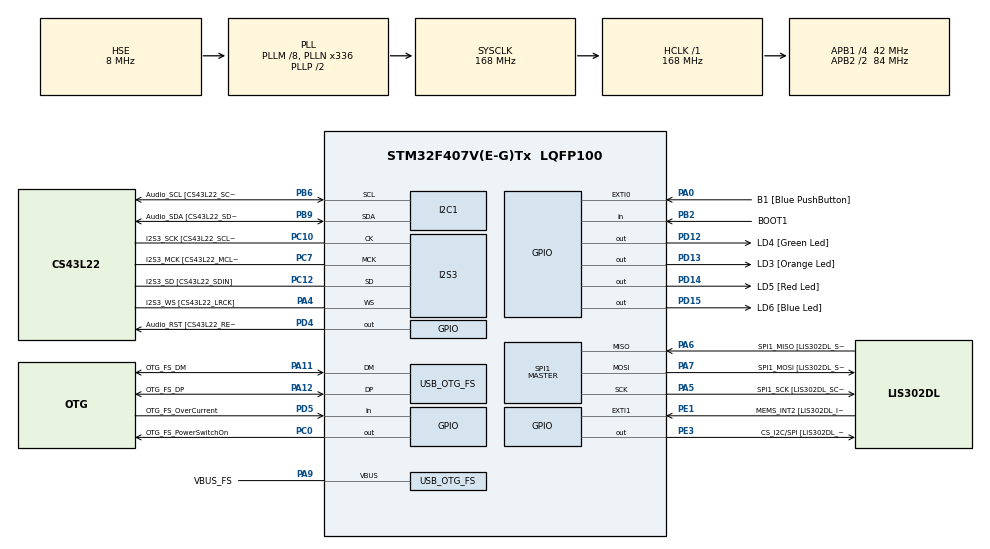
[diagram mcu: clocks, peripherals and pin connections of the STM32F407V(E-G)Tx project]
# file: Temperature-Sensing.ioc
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ADC1.Channel-0\#ChannelRegularConversion=ADC_CHANNEL_TEMPSENSOR
ADC1.NbrOfConversionFlag=1
ADC1.Rank-0\#ChannelRegularConversion=1
ADC1.SamplingTime-0\#ChannelRegularConversion=ADC_SAMPLETIME_3CYCLES
ADC1.master=1
I2S3.AudioFreq-Half_Duplex_Master=I2S_AUDIOFREQ_96K
I2S3.ErrorAudioFreq=-2.34 %
I2S3.ErrorAudioFreq-Half_Duplex_Master=0.8 %
I2S3.FullDuplexMode=I2S_FULLDUPLEXMODE_DISABLE
I2S3.Instance=SPI$Index
I2S3.RealAudioFreq=93.75 KHz
I2S3.RealAudioFreq-Half_Duplex_Master=96.774 KHz
I2S3.VirtualMode=I2S_MODE_MASTER
Mcu.Family=STM32F4
Mcu.Name=STM32F407V(E-G)Tx
Mcu.Package=LQFP100
NVIC.OTG_FS_IRQn=true\:0\:0\:false\:false\:true\:true
NVIC.PriorityGroup=NVIC_PRIORITYGROUP_0
PA0-WKUP.GPIO_Label=B1 [Blue PushButton]
PA0-WKUP.GPIO_ModeDefaultEXTI=GPIO_MODE_EVT_RISING
PA0-WKUP.GPIO_PuPd=GPIO_NOPULL
PA0-WKUP.Signal=GPXTI0
PA10.GPIO_Label=OTG_FS_ID
PA10.GPIO_Mode=GPIO_MODE_AF_PP
PA10.GPIO_PuPd=GPIO_NOPULL
PA10.GPIO_Speed=GPIO_SPEED_FREQ_LOW
PA10.Signal=USB_OTG_FS_ID
PA11.GPIO_Label=OTG_FS_DM
PA11.GPIO_Mode=GPIO_MODE_AF_PP
PA11.GPIO_PuPd=GPIO_NOPULL
PA11.GPIO_Speed=GPIO_SPEED_FREQ_LOW
PA11.Mode=Host_Only
PA11.Signal=USB_OTG_FS_DM
PA12.GPIO_Label=OTG_FS_DP
PA12.GPIO_Mode=GPIO_MODE_AF_PP
PA12.GPIO_PuPd=GPIO_NOPULL
PA12.GPIO_Speed=GPIO_SPEED_FREQ_LOW
PA12.Mode=Host_Only
PA12.Signal=USB_OTG_FS_DP
PA13.GPIO_Label=SWDIO
PA13.Mode=Serial_Wire
PA13.Signal=SYS_JTMS-SWDIO
PA14.GPIO_Label=SWCLK
PA14.Mode=Serial_Wire
PA14.Signal=SYS_JTCK-SWCLK
PA4.GPIO_Label=I2S3_WS [CS43L22_LRCK]
PA4.GPIO_Mode=GPIO_MODE_AF_PP
PA4.GPIO_PuPd=GPIO_NOPULL
PA4.GPIO_Speed=GPIO_SPEED_FREQ_LOW
PA4.Mode=Half_Duplex_Master
PA4.Signal=I2S3_WS
PA5.GPIO_Label=SPI1_SCK [LIS302DL_SCL/SPC]
PA5.GPIO_Mode=GPIO_MODE_AF_PP
PA5.GPIO_PuPd=GPIO_NOPULL
PA5.GPIO_Speed=GPIO_SPEED_FREQ_LOW
PA5.Mode=Full_Duplex_Master
PA5.Signal=SPI1_SCK
PA6.GPIO_Label=SPI1_MISO [LIS302DL_SDO]
PA6.GPIO_Mode=GPIO_MODE_AF_PP
PA6.GPIO_PuPd=GPIO_NOPULL
PA6.GPIO_Speed=GPIO_SPEED_FREQ_LOW
PA6.Mode=Full_Duplex_Master
PA6.Signal=SPI1_MISO
PA7.GPIO_Label=SPI1_MOSI [LIS302DL_SDA/SDI/SDO]
PA7.GPIO_Mode=GPIO_MODE_AF_PP
PA7.GPIO_PuPd=GPIO_NOPULL
PA7.GPIO_Speed=GPIO_SPEED_FREQ_LOW
PA7.Mode=Full_Duplex_Master
PA7.Signal=SPI1_MOSI
PA9.GPIO_Label=VBUS_FS
PA9.GPIO_Mode=GPIO_MODE_INPUT
PA9.GPIO_PuPd=GPIO_NOPULL
PA9.Mode=Activate_VBUS
PA9.Signal=USB_OTG_FS_VBUS
PB10.GPIO_Label=CLK_IN [MP45DT02_CLK]
PB10.GPIO_Mode=GPIO_MODE_AF_PP
PB10.GPIO_PuPd=GPIO_NOPULL
PB10.GPIO_Speed=GPIO_SPEED_FREQ_LOW
PB10.Signal=I2S2_CK
PB2.GPIO_Label=BOOT1
PB2.GPIO_Mode=GPIO_MODE_INPUT
PB2.GPIO_PuPd=GPIO_NOPULL
PB2.Signal=GPIO_Input
PB3.GPIO_Label=SWO
PB3.Signal=SYS_JTDO-SWO
PB6.GPIO_Label=Audio_SCL [CS43L22_SCL]
PB6.GPIO_Mode=GPIO_MODE_AF_OD
PB6.GPIO_PuPd=GPIO_NOPULL
PB6.GPIO_Speed=GPIO_SPEED_FREQ_LOW
PB6.Mode=I2C
PB6.Signal=I2C1_SCL
PB9.GPIO_Label=Audio_SDA [CS43L22_SDA]
PB9.GPIO_Mode=GPIO_MODE_AF_OD
PB9.GPIO_PuPd=GPIO_NOPULL
PB9.GPIO_Speed=GPIO_SPEED_FREQ_LOW
PB9.Mode=I2C
PB9.Signal=I2C1_SDA
PC0.GPIO_Label=OTG_FS_PowerSwitchOn
PC0.GPIO_PuPd=GPIO_NOPULL
PC0.GPIO_Speed=GPIO_SPEED_FREQ_LOW
PC0.PinState=GPIO_PIN_SET
PC0.Signal=GPIO_Output
PC10.GPIO_Label=I2S3_SCK [CS43L22_SCLK]
PC10.GPIO_Mode=GPIO_MODE_AF_PP
PC10.GPIO_PuPd=GPIO_NOPULL
PC10.GPIO_Speed=GPIO_SPEED_FREQ_LOW
PC10.Mode=Half_Duplex_Master
PC10.Signal=I2S3_CK
PC12.GPIO_Label=I2S3_SD [CS43L22_SDIN]
PC12.GPIO_Mode=GPIO_MODE_AF_PP
PC12.GPIO_PuPd=GPIO_NOPULL
PC12.GPIO_Speed=GPIO_SPEED_FREQ_LOW
PC12.Mode=Half_Duplex_Master
PC12.Signal=I2S3_SD
PC14-OSC32_IN.GPIO_Label=PC14-OSC32_IN
PC14-OSC32_IN.Mode=LSE-External-Oscillator
PC14-OSC32_IN.Signal=RCC_OSC32_IN
PC15-OSC32_OUT.GPIO_Label=PC15-OSC32_OUT
PC15-OSC32_OUT.Mode=LSE-External-Oscillator
PC15-OSC32_OUT.Signal=RCC_OSC32_OUT
PC3.GPIO_Label=PDM_OUT [MP45DT02_DOUT]
PC3.GPIO_Mode=GPIO_MODE_AF_PP
PC3.GPIO_PuPd=GPIO_NOPULL
PC3.GPIO_Speed=GPIO_SPEED_FREQ_LOW
PC3.Signal=I2S2_SD
PC7.GPIO_Label=I2S3_MCK [CS43L22_MCLK]
PC7.GPIO_Mode=GPIO_MODE_AF_PP
PC7.GPIO_PuPd=GPIO_NOPULL
PC7.GPIO_Speed=GPIO_SPEED_FREQ_LOW
PC7.Mode=Master_Clock_Activated
PC7.Signal=I2S3_MCK
PD12.GPIO_Label=LD4 [Green Led]
PD12.GPIO_PuPd=GPIO_NOPULL
PD12.GPIO_Speed=GPIO_SPEED_FREQ_LOW
PD12.Signal=GPIO_Output
PD13.GPIO_Label=LD3 [Orange Led]
PD13.GPIO_PuPd=GPIO_NOPULL
PD13.GPIO_Speed=GPIO_SPEED_FREQ_LOW
PD13.Signal=GPIO_Output
PD14.GPIO_Label=LD5 [Red Led]
PD14.GPIO_PuPd=GPIO_NOPULL
PD14.GPIO_Speed=GPIO_SPEED_FREQ_LOW
PD14.Signal=GPIO_Output
PD15.GPIO_Label=LD6 [Blue Led]
PD15.GPIO_PuPd=GPIO_NOPULL
PD15.GPIO_Speed=GPIO_SPEED_FREQ_LOW
PD15.Signal=GPIO_Output
PD4.GPIO_Label=Audio_RST [CS43L22_RESET]
PD4.GPIO_PuPd=GPIO_NOPULL
PD4.GPIO_Speed=GPIO_SPEED_FREQ_LOW
PD4.Signal=GPIO_Output
PD5.GPIO_Label=OTG_FS_OverCurrent
PD5.GPIO_Mode=GPIO_MODE_INPUT
PD5.GPIO_PuPd=GPIO_NOPULL
PD5.Signal=GPIO_Input
PE1.GPIO_Label=MEMS_INT2 [LIS302DL_INT2]
PE1.GPIO_ModeDefaultEXTI=GPIO_MODE_EVT_RISING
PE1.GPIO_PuPd=GPIO_NOPULL
PE1.Signal=GPXTI1
PE3.GPIO_Label=CS_I2C/SPI [LIS302DL_CS_I2C/SPI]
PE3.GPIO_PuPd=GPIO_NOPULL
PE3.GPIO_Speed=GPIO_SPEED_FREQ_LOW
PE3.Signal=GPIO_Output
PH0-OSC_IN.GPIO_Label=PH0-OSC_IN
PH0-OSC_IN.Mode=HSE-External-Oscillator
PH0-OSC_IN.Signal=RCC_OSC_IN
PH1-OSC_OUT.GPIO_Label=PH1-OSC_OUT
PH1-OSC_OUT.Mode=HSE-External-Oscillator
PH1-OSC_OUT.Signal=RCC_OSC_OUT
ProjectManager.HeapSize=0x200
ProjectManager.StackSize=0x400
ProjectManager.TargetToolchain=EWARM V8
RCC.48MHZClocksFreq_Value=48000000
RCC.AHBFreq_Value=168000000
RCC.APB1CLKDivider=RCC_HCLK_DIV4
RCC.APB1Freq_Value=42000000
RCC.APB1TimFreq_Value=84000000
RCC.APB2CLKDivider=RCC_HCLK_DIV2
RCC.APB2Freq_Value=84000000
RCC.APB2TimFreq_Value=168000000
RCC.CortexFreq_Value=168000000
RCC.HCLKFreq_Value=168000000
RCC.HSE_VALUE=8000000
RCC.HSI_VALUE=16000000
RCC.PLLM=8
RCC.PLLN=336
RCC.PLLQ=7
RCC.SYSCLKFreq_VALUE=168000000
RCC.SYSCLKSource=RCC_SYSCLKSOURCE_PLLCLK
RCC.VCOOutputFreq_Value=336000000
SPI1.BaudRatePrescaler-Full_Duplex_Master=SPI_BAUDRATEPRESCALER_2
SPI1.CalculateBaudRate-Full_Duplex_Master=42.0 MBits/s
SPI1.Direction=SPI_DIRECTION_2LINES
SPI1.Mode=SPI_MODE_MASTER
SPI1.Mode-Full_Duplex_Master=SPI_MODE_MASTER
SPI1.VirtualType=VM_MASTER
USB_HOST.BSP.number=1
USB_HOST.USBH_HandleTypeDef-CDC_FS=hUsbHostFS
USB_HOST.VirtualModeFS=Cdc
USB_HOST0.BSP.STBoard=false
USB_HOST0.BSP.api=Unknown
USB_HOST0.BSP.i2caddr=0
USB_HOST0.BSP.i2creg=0
USB_HOST0.BSP.instance=PC0
USB_HOST0.BSP.ip=GPIO
USB_HOST0.BSP.mode=Output
USB_HOST0.BSP.name=Drive_VBUS_FS
USB_HOST0.BSP.solution=PC0
USB_OTG_FS.VirtualMode=Host_Only
USB_OTG_FS.phy_itface=HCD_PHY_EMBEDDED
VP_ADC1_TempSens_Input.Mode=IN-TempSens
VP_USB_HOST_VS_USB_HOST_CDC_FS.Mode=CDC_FS
board=STM32F4DISCOVERY

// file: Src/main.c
/**
  ******************************************************************************
  * @file           : main.c
  * @brief          : Main program body
  ******************************************************************************
  * This notice applies to any and all portions of this file
  * that are not between comment pairs USER CODE BEGIN and
  * USER CODE END. Other portions of this file, whether
  * inserted by the user or by software development tools
  * are owned by their respective copyright owners.
  *
  * Copyright (c) 2018 STMicroelectronics International N.V.
  * All rights reserved.
  *
  * Redistribution and use in source and binary forms, with or without
  * modification, are permitted, provided that the following conditions are met:
  *
  * 1. Redistribution of source code must retain the above copyright notice,
  *    this list of conditions and the following disclaimer.
  * 2. Redistributions in binary form must reproduce the above copyright notice,
  *    this list of conditions and the following disclaimer in the documentation
  *    and/or other materials provided with the distribution.
  * 3. Neither the name of STMicroelectronics nor the names of other
  *    contributors to this software may be used to endorse or promote products
  *    derived from this software without specific written permission.
  * 4. This software, including modifications and/or derivative works of this
  *    software, must execute solely and exclusively on microcontroller or
  *    microprocessor devices manufactured by or for STMicroelectronics.
  * 5. Redistribution and use of this software other than as permitted under
  *    this license is void and will automatically terminate your rights under
  *    this license.
  *
  * THIS SOFTWARE IS PROVIDED BY STMICROELECTRONICS AND CONTRIBUTORS "AS IS"
  * AND ANY EXPRESS, IMPLIED OR STATUTORY WARRANTIES, INCLUDING, BUT NOT
  * LIMITED TO, THE IMPLIED WARRANTIES OF MERCHANTABILITY, FITNESS FOR A
  * PARTICULAR PURPOSE AND NON-INFRINGEMENT OF THIRD PARTY INTELLECTUAL PROPERTY
  * RIGHTS ARE DISCLAIMED TO THE FULLEST EXTENT PERMITTED BY LAW. IN NO EVENT
  * SHALL STMICROELECTRONICS OR CONTRIBUTORS BE LIABLE FOR ANY DIRECT, INDIRECT,
  * INCIDENTAL, SPECIAL, EXEMPLARY, OR CONSEQUENTIAL DAMAGES (INCLUDING, BUT NOT
  * LIMITED TO, PROCUREMENT OF SUBSTITUTE GOODS OR SERVICES; LOSS OF USE, DATA,
  * OR PROFITS; OR BUSINESS INTERRUPTION) HOWEVER CAUSED AND ON ANY THEORY OF
  * LIABILITY, WHETHER IN CONTRACT, STRICT LIABILITY, OR TORT (INCLUDING
  * NEGLIGENCE OR OTHERWISE) ARISING IN ANY WAY OUT OF THE USE OF THIS SOFTWARE,
  * EVEN IF ADVISED OF THE POSSIBILITY OF SUCH DAMAGE.
  *
  ******************************************************************************
  */
#include "main.h"
#include "stm32f4xx_hal.h"
#include "usb_host.h"
#include "stdio.h"

ADC_HandleTypeDef hadc1;

I2C_HandleTypeDef hi2c1;

I2S_HandleTypeDef hi2s3;

SPI_HandleTypeDef hspi1;

/* USER CODE BEGIN PV */
/* Private variables ---------------------------------------------------------*/

/* USER CODE END PV */

void SystemClock_Config(void);
static void MX_GPIO_Init(void);
static void MX_I2C1_Init(void);
static void MX_I2S3_Init(void);
static void MX_SPI1_Init(void);
static void MX_ADC1_Init(void);
void MX_USB_HOST_Process(void);

/* USER CODE BEGIN PFP */
/* Private function prototypes -----------------------------------------------*/

/* USER CODE END PFP */

int main(void)
{

  /* MCU Configuration----------------------------------------------------------*/

  /* Reset of all peripherals, Initializes the Flash interface and the Systick. */
  HAL_Init();

  /* Configure the system clock */
  SystemClock_Config();

  /* Initialize all configured peripherals */
  MX_GPIO_Init();
  MX_I2C1_Init();
  MX_I2S3_Init();
  MX_SPI1_Init();
  MX_USB_HOST_Init();
  MX_ADC1_Init();
  /* USER CODE BEGIN 2 */

  int baselineTemp = AverageTemp();
  HAL_GPIO_WritePin(GPIOD, GPIO_PIN_12, GPIO_PIN_SET);
  printf("Determined %i as Baseline\n", baselineTemp);

  /* USER CODE END 2 */

  /* Infinite loop */
  /* USER CODE BEGIN WHILE */
  while (1)
  {
    int currentTemp = AverageTemp();

    //printf("Current: %i\n", currentTemp);

    if (currentTemp > baselineTemp)
    {
      HAL_GPIO_WritePin(GPIOD, GPIO_PIN_14, GPIO_PIN_SET);
      HAL_GPIO_WritePin(GPIOD, GPIO_PIN_15, GPIO_PIN_RESET);
      HAL_GPIO_WritePin(GPIOD, GPIO_PIN_12, GPIO_PIN_RESET);
    }

    if (currentTemp < baselineTemp)
    {
      HAL_GPIO_WritePin(GPIOD, GPIO_PIN_14, GPIO_PIN_RESET);
      HAL_GPIO_WritePin(GPIOD, GPIO_PIN_15, GPIO_PIN_SET);
      HAL_GPIO_WritePin(GPIOD, GPIO_PIN_12, GPIO_PIN_RESET);
    }

    if (currentTemp == baselineTemp)
    {
      HAL_GPIO_WritePin(GPIOD, GPIO_PIN_14, GPIO_PIN_RESET);
      HAL_GPIO_WritePin(GPIOD, GPIO_PIN_15, GPIO_PIN_RESET);
      HAL_GPIO_WritePin(GPIOD, GPIO_PIN_12, GPIO_PIN_SET);
    }

  /* USER CODE END WHILE */
    MX_USB_HOST_Process();

  }

}

int AverageTemp(void)
{
  int i, temps = 0;
  for (i=1; i<=100; i++)
  {
    temps += GetTemp();
  }
  //printf("Average is: %i\n", temps / 100);
  return temps / 100;
}

int GetTemp(void)
{
    uint16_t ADCValue = 0;
    HAL_ADC_Start(&hadc1);
    if (HAL_ADC_PollForConversion(&hadc1, 1000000) == HAL_OK)
    {
      ADCValue = HAL_ADC_GetValue(&hadc1);
      //printf("Temperature is: %d\n", ADCValue);
    }
    else
    {
      printf("Conversion Error\n");
    }
    return ADCValue;
}

void SystemClock_Config(void)
{

  RCC_OscInitTypeDef RCC_OscInitStruct;
  RCC_ClkInitTypeDef RCC_ClkInitStruct;
  RCC_PeriphCLKInitTypeDef PeriphClkInitStruct;

    /**Configure the main internal regulator output voltage
    */
  __HAL_RCC_PWR_CLK_ENABLE();

  __HAL_PWR_VOLTAGESCALING_CONFIG(PWR_REGULATOR_VOLTAGE_SCALE1);

    /**Initializes the CPU, AHB and APB busses clocks
    */
  RCC_OscInitStruct.OscillatorType = RCC_OSCILLATORTYPE_HSE;
  RCC_OscInitStruct.HSEState = RCC_HSE_ON;
  RCC_OscInitStruct.PLL.PLLState = RCC_PLL_ON;
  RCC_OscInitStruct.PLL.PLLSource = RCC_PLLSOURCE_HSE;
  RCC_OscInitStruct.PLL.PLLM = 8;
  RCC_OscInitStruct.PLL.PLLN = 336;
  RCC_OscInitStruct.PLL.PLLP = RCC_PLLP_DIV2;
  RCC_OscInitStruct.PLL.PLLQ = 7;
  if (HAL_RCC_OscConfig(&RCC_OscInitStruct) != HAL_OK)
  {
    _Error_Handler(__FILE__, __LINE__);
  }

    /**Initializes the CPU, AHB and APB busses clocks
    */
  RCC_ClkInitStruct.ClockType = RCC_CLOCKTYPE_HCLK|RCC_CLOCKTYPE_SYSCLK
                              |RCC_CLOCKTYPE_PCLK1|RCC_CLOCKTYPE_PCLK2;
  RCC_ClkInitStruct.SYSCLKSource = RCC_SYSCLKSOURCE_PLLCLK;
  RCC_ClkInitStruct.AHBCLKDivider = RCC_SYSCLK_DIV1;
  RCC_ClkInitStruct.APB1CLKDivider = RCC_HCLK_DIV4;
  RCC_ClkInitStruct.APB2CLKDivider = RCC_HCLK_DIV2;

  if (HAL_RCC_ClockConfig(&RCC_ClkInitStruct, FLASH_LATENCY_5) != HAL_OK)
  {
    _Error_Handler(__FILE__, __LINE__);
  }

  PeriphClkInitStruct.PeriphClockSelection = RCC_PERIPHCLK_I2S;
  PeriphClkInitStruct.PLLI2S.PLLI2SN = 192;
  PeriphClkInitStruct.PLLI2S.PLLI2SR = 2;
  if (HAL_RCCEx_PeriphCLKConfig(&PeriphClkInitStruct) != HAL_OK)
  {
    _Error_Handler(__FILE__, __LINE__);
  }

    /**Configure the Systick interrupt time
    */
  HAL_SYSTICK_Config(HAL_RCC_GetHCLKFreq()/1000);

    /**Configure the Systick
    */
  HAL_SYSTICK_CLKSourceConfig(SYSTICK_CLKSOURCE_HCLK);

  /* SysTick_IRQn interrupt configuration */
  HAL_NVIC_SetPriority(SysTick_IRQn, 0, 0);
}

/* ADC1 init function */
static void MX_ADC1_Init(void)
{

  ADC_ChannelConfTypeDef sConfig;

    /**Configure the global features of the ADC (Clock, Resolution, Data Alignment and number of conversion)
    */
  hadc1.Instance = ADC1;
  hadc1.Init.ClockPrescaler = ADC_CLOCK_SYNC_PCLK_DIV4;
  hadc1.Init.Resolution = ADC_RESOLUTION_12B;
  hadc1.Init.ScanConvMode = DISABLE;
  hadc1.Init.ContinuousConvMode = DISABLE;
  hadc1.Init.DiscontinuousConvMode = DISABLE;
  hadc1.Init.ExternalTrigConvEdge = ADC_EXTERNALTRIGCONVEDGE_NONE;
  hadc1.Init.ExternalTrigConv = ADC_SOFTWARE_START;
  hadc1.Init.DataAlign = ADC_DATAALIGN_RIGHT;
  hadc1.Init.NbrOfConversion = 1;
  hadc1.Init.DMAContinuousRequests = DISABLE;
  hadc1.Init.EOCSelection = ADC_EOC_SINGLE_CONV;
  if (HAL_ADC_Init(&hadc1) != HAL_OK)
  {
    _Error_Handler(__FILE__, __LINE__);
  }

    /**Configure for the selected ADC regular channel its corresponding rank in the sequencer and its sample time.
    */
  sConfig.Channel = ADC_CHANNEL_TEMPSENSOR;
  sConfig.Rank = 1;
  sConfig.SamplingTime = ADC_SAMPLETIME_3CYCLES;
  if (HAL_ADC_ConfigChannel(&hadc1, &sConfig) != HAL_OK)
  {
    _Error_Handler(__FILE__, __LINE__);
  }

}

/* I2C1 init function */
static void MX_I2C1_Init(void)
{

  hi2c1.Instance = I2C1;
  hi2c1.Init.ClockSpeed = 100000;
  hi2c1.Init.DutyCycle = I2C_DUTYCYCLE_2;
  hi2c1.Init.OwnAddress1 = 0;
  hi2c1.Init.AddressingMode = I2C_ADDRESSINGMODE_7BIT;
  hi2c1.Init.DualAddressMode = I2C_DUALADDRESS_DISABLE;
  hi2c1.Init.OwnAddress2 = 0;
  hi2c1.Init.GeneralCallMode = I2C_GENERALCALL_DISABLE;
  hi2c1.Init.NoStretchMode = I2C_NOSTRETCH_DISABLE;
  if (HAL_I2C_Init(&hi2c1) != HAL_OK)
  {
    _Error_Handler(__FILE__, __LINE__);
  }

}

/* I2S3 init function */
static void MX_I2S3_Init(void)
{

  hi2s3.Instance = SPI3;
  hi2s3.Init.Mode = I2S_MODE_MASTER_TX;
  hi2s3.Init.Standard = I2S_STANDARD_PHILIPS;
  hi2s3.Init.DataFormat = I2S_DATAFORMAT_16B;
  hi2s3.Init.MCLKOutput = I2S_MCLKOUTPUT_ENABLE;
  hi2s3.Init.AudioFreq = I2S_AUDIOFREQ_96K;
  hi2s3.Init.CPOL = I2S_CPOL_LOW;
  hi2s3.Init.ClockSource = I2S_CLOCK_PLL;
  hi2s3.Init.FullDuplexMode = I2S_FULLDUPLEXMODE_DISABLE;
  if (HAL_I2S_Init(&hi2s3) != HAL_OK)
  {
    _Error_Handler(__FILE__, __LINE__);
  }

}

/* SPI1 init function */
static void MX_SPI1_Init(void)
{

  /* SPI1 parameter configuration*/
  hspi1.Instance = SPI1;
  hspi1.Init.Mode = SPI_MODE_MASTER;
  hspi1.Init.Direction = SPI_DIRECTION_2LINES;
  hspi1.Init.DataSize = SPI_DATASIZE_8BIT;
  hspi1.Init.CLKPolarity = SPI_POLARITY_LOW;
  hspi1.Init.CLKPhase = SPI_PHASE_1EDGE;
  hspi1.Init.NSS = SPI_NSS_SOFT;
  hspi1.Init.BaudRatePrescaler = SPI_BAUDRATEPRESCALER_2;
  hspi1.Init.FirstBit = SPI_FIRSTBIT_MSB;
  hspi1.Init.TIMode = SPI_TIMODE_DISABLE;
  hspi1.Init.CRCCalculation = SPI_CRCCALCULATION_DISABLE;
  hspi1.Init.CRCPolynomial = 10;
  if (HAL_SPI_Init(&hspi1) != HAL_OK)
  {
    _Error_Handler(__FILE__, __LINE__);
  }

}

/** Configure pins as
        * Analog
        * Input
        * Output
        * EVENT_OUT
        * EXTI
     PC3   ------> I2S2_SD
     PB10   ------> I2S2_CK
*/
static void MX_GPIO_Init(void)
{

  GPIO_InitTypeDef GPIO_InitStruct;

  /* GPIO Ports Clock Enable */
  __HAL_RCC_GPIOE_CLK_ENABLE();
  __HAL_RCC_GPIOC_CLK_ENABLE();
  __HAL_RCC_GPIOH_CLK_ENABLE();
  __HAL_RCC_GPIOA_CLK_ENABLE();
  __HAL_RCC_GPIOB_CLK_ENABLE();
  __HAL_RCC_GPIOD_CLK_ENABLE();

  /*Configure GPIO pin Output Level */
  HAL_GPIO_WritePin(CS_I2C_SPI_GPIO_Port, CS_I2C_SPI_Pin, GPIO_PIN_RESET);

  /*Configure GPIO pin Output Level */
  HAL_GPIO_WritePin(OTG_FS_PowerSwitchOn_GPIO_Port, OTG_FS_PowerSwitchOn_Pin, GPIO_PIN_SET);

  /*Configure GPIO pin Output Level */
  HAL_GPIO_WritePin(GPIOD, LD4_Pin|LD3_Pin|LD5_Pin|LD6_Pin
                          |Audio_RST_Pin, GPIO_PIN_RESET);

  /*Configure GPIO pin : CS_I2C_SPI_Pin */
  GPIO_InitStruct.Pin = CS_I2C_SPI_Pin;
  GPIO_InitStruct.Mode = GPIO_MODE_OUTPUT_PP;
  GPIO_InitStruct.Pull = GPIO_NOPULL;
  GPIO_InitStruct.Speed = GPIO_SPEED_FREQ_LOW;
  HAL_GPIO_Init(CS_I2C_SPI_GPIO_Port, &GPIO_InitStruct);

  /*Configure GPIO pin : OTG_FS_PowerSwitchOn_Pin */
  GPIO_InitStruct.Pin = OTG_FS_PowerSwitchOn_Pin;
  GPIO_InitStruct.Mode = GPIO_MODE_OUTPUT_PP;
  GPIO_InitStruct.Pull = GPIO_NOPULL;
  GPIO_InitStruct.Speed = GPIO_SPEED_FREQ_LOW;
  HAL_GPIO_Init(OTG_FS_PowerSwitchOn_GPIO_Port, &GPIO_InitStruct);

  /*Configure GPIO pin : PDM_OUT_Pin */
  GPIO_InitStruct.Pin = PDM_OUT_Pin;
  GPIO_InitStruct.Mode = GPIO_MODE_AF_PP;
  GPIO_InitStruct.Pull = GPIO_NOPULL;
  GPIO_InitStruct.Speed = GPIO_SPEED_FREQ_LOW;
  GPIO_InitStruct.Alternate = GPIO_AF5_SPI2;
  HAL_GPIO_Init(PDM_OUT_GPIO_Port, &GPIO_InitStruct);

  /*Configure GPIO pin : B1_Pin */
  GPIO_InitStruct.Pin = B1_Pin;
  GPIO_InitStruct.Mode = GPIO_MODE_EVT_RISING;
  GPIO_InitStruct.Pull = GPIO_NOPULL;
  HAL_GPIO_Init(B1_GPIO_Port, &GPIO_InitStruct);

  /*Configure GPIO pin : BOOT1_Pin */
  GPIO_InitStruct.Pin = BOOT1_Pin;
  GPIO_InitStruct.Mode = GPIO_MODE_INPUT;
  GPIO_InitStruct.Pull = GPIO_NOPULL;
  HAL_GPIO_Init(BOOT1_GPIO_Port, &GPIO_InitStruct);

  /*Configure GPIO pin : CLK_IN_Pin */
  GPIO_InitStruct.Pin = CLK_IN_Pin;
  GPIO_InitStruct.Mode = GPIO_MODE_AF_PP;
  GPIO_InitStruct.Pull = GPIO_NOPULL;
  GPIO_InitStruct.Speed = GPIO_SPEED_FREQ_LOW;
  GPIO_InitStruct.Alternate = GPIO_AF5_SPI2;
  HAL_GPIO_Init(CLK_IN_GPIO_Port, &GPIO_InitStruct);

  /*Configure GPIO pins : LD4_Pin LD3_Pin LD5_Pin LD6_Pin
                           Audio_RST_Pin */
  GPIO_InitStruct.Pin = LD4_Pin|LD3_Pin|LD5_Pin|LD6_Pin
                          |Audio_RST_Pin;
  GPIO_InitStruct.Mode = GPIO_MODE_OUTPUT_PP;
  GPIO_InitStruct.Pull = GPIO_NOPULL;
  GPIO_InitStruct.Speed = GPIO_SPEED_FREQ_LOW;
  HAL_GPIO_Init(GPIOD, &GPIO_InitStruct);

  /*Configure GPIO pin : OTG_FS_OverCurrent_Pin */
  GPIO_InitStruct.Pin = OTG_FS_OverCurrent_Pin;
  GPIO_InitStruct.Mode = GPIO_MODE_INPUT;
  GPIO_InitStruct.Pull = GPIO_NOPULL;
  HAL_GPIO_Init(OTG_FS_OverCurrent_GPIO_Port, &GPIO_InitStruct);

  /*Configure GPIO pin : MEMS_INT2_Pin */
  GPIO_InitStruct.Pin = MEMS_INT2_Pin;
  GPIO_InitStruct.Mode = GPIO_MODE_EVT_RISING;
  GPIO_InitStruct.Pull = GPIO_NOPULL;
  HAL_GPIO_Init(MEMS_INT2_GPIO_Port, &GPIO_InitStruct);

}

void _Error_Handler(char *file, int line)
{
  while(1)
  {
  }
}

/************************ (C) COPYRIGHT STMicroelectronics *****END OF FILE****/
